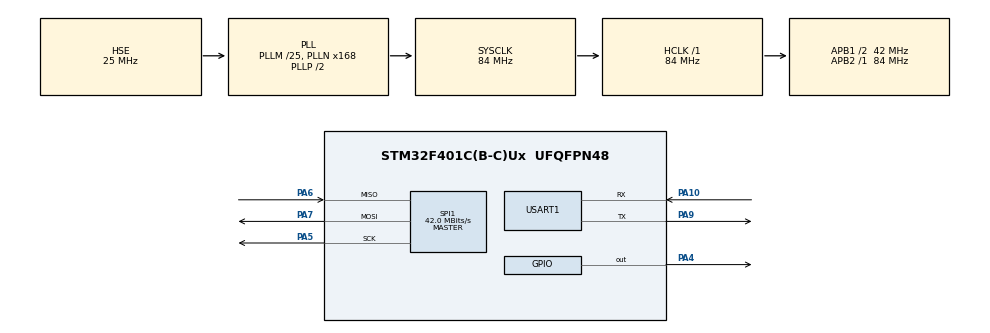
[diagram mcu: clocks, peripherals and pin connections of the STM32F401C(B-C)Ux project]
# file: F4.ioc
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Mcu.Family=STM32F4
Mcu.Name=STM32F401C(B-C)Ux
Mcu.Package=UFQFPN48
NVIC.PriorityGroup=NVIC_PRIORITYGROUP_4
NVIC.TIM1_BRK_TIM9_IRQn=true\:0\:0\:false\:false\:true\:true\:true\:true
PA10.Mode=Asynchronous
PA10.Signal=USART1_RX
PA13.Mode=Serial_Wire
PA13.Signal=SYS_JTMS-SWDIO
PA14.Mode=Serial_Wire
PA14.Signal=SYS_JTCK-SWCLK
PA4.GPIO_ModeDefaultOutputPP=GPIO_MODE_OUTPUT_PP
PA4.GPIO_PuPd=GPIO_NOPULL
PA4.GPIO_Speed=GPIO_SPEED_FREQ_VERY_HIGH
PA4.PinState=GPIO_PIN_SET
PA4.Signal=GPIO_Output
PA5.Mode=Full_Duplex_Master
PA5.Signal=SPI1_SCK
PA6.Mode=Full_Duplex_Master
PA6.Signal=SPI1_MISO
PA7.Mode=Full_Duplex_Master
PA7.Signal=SPI1_MOSI
PA9.Mode=Asynchronous
PA9.Signal=USART1_TX
PH0\ -\ OSC_IN.Mode=HSE-External-Oscillator
PH0\ -\ OSC_IN.Signal=RCC_OSC_IN
PH1\ -\ OSC_OUT.Mode=HSE-External-Oscillator
PH1\ -\ OSC_OUT.Signal=RCC_OSC_OUT
ProjectManager.HeapSize=0x200
ProjectManager.StackSize=0x400
ProjectManager.TargetToolchain=MDK-ARM V5.32
RCC.48MHZClocksFreq_Value=42000000
RCC.AHBFreq_Value=84000000
RCC.APB1CLKDivider=RCC_HCLK_DIV2
RCC.APB1Freq_Value=42000000
RCC.APB1TimFreq_Value=84000000
RCC.APB2Freq_Value=84000000
RCC.APB2TimFreq_Value=84000000
RCC.CortexFreq_Value=84000000
RCC.HCLKFreq_Value=84000000
RCC.HSE_VALUE=25000000
RCC.HSI_VALUE=16000000
RCC.LSE_VALUE=32768
RCC.PLLM=25
RCC.PLLN=168
RCC.PLLSourceVirtual=RCC_PLLSOURCE_HSE
RCC.SYSCLKFreq_VALUE=84000000
RCC.SYSCLKSource=RCC_SYSCLKSOURCE_PLLCLK
RCC.VCOOutputFreq_Value=168000000
SPI1.BaudRatePrescaler=SPI_BAUDRATEPRESCALER_2
SPI1.CRCCalculation=SPI_CRCCALCULATION_DISABLE
SPI1.CalculateBaudRate=42.0 MBits/s
SPI1.Direction=SPI_DIRECTION_2LINES
SPI1.Mode=SPI_MODE_MASTER
SPI1.VirtualType=VM_MASTER
TIM9.AutoReloadPreload=TIM_AUTORELOAD_PRELOAD_ENABLE
TIM9.Prescaler=84-1
USART1.VirtualMode=VM_ASYNC
VP_TIM9_VS_ClockSourceINT.Mode=Internal
board=custom

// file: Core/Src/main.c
/* USER CODE BEGIN Header */
/**
 ******************************************************************************
 * @file           : main.c
 * @brief          : Main program body
 ******************************************************************************
 * @attention
 *
 * Copyright (c) 2022 STMicroelectronics.
 * All rights reserved.
 *
 * This software is licensed under terms that can be found in the LICENSE file
 * in the root directory of this software component.
 * If no LICENSE file comes with this software, it is provided AS-IS.
 *
 ******************************************************************************
 */
/* USER CODE END Header */
#include "main.h"
#include "spi.h"
#include "tim.h"
#include "usart.h"
#include "gpio.h"

/* USER CODE BEGIN Includes */
#include "Delay.h"
#include "Print.h"
#include "W25Qxx.h"
/* USER CODE END Includes */

void SystemClock_Config(void);

/* USER CODE BEGIN 0 */
uint8_t s[5125] = {1, 2, 3, 4, 5, 6, 7, 8, 9};
/* USER CODE END 0 */

int main(void)
{
  /* USER CODE BEGIN 1 */

  uint8_t r[10] = {0};
  /* USER CODE END 1 */

  /* MCU Configuration--------------------------------------------------------*/

  /* Reset of all peripherals, Initializes the Flash interface and the Systick. */
  HAL_Init();

  /* Configure the system clock */
  SystemClock_Config();

  /* Initialize all configured peripherals */
  MX_GPIO_Init();
  MX_USART1_UART_Init();
  MX_TIM9_Init();
  MX_SPI1_Init();
  /* USER CODE BEGIN 2 */
  W25Qxx_Sector_Erase(0x000000);
  W25Qxx_Wait_Free();
  W25Qxx_Sector_Erase(0x001000);
  W25Qxx_Wait_Free();
  W25Qxx_Sector_Erase(0x002000);
  W25Qxx_Wait_Free();

  for (int i = 0; i < 5125; i++)
    s[i] = i % 256;
  W25Qxx_Write(0x000e30, s, 5125);
  W25Qxx_Print_Sector(0x000000);
  printf("\r\n\r\n\r\n");
  W25Qxx_Print_Sector(0x001000);
  printf("\r\n\r\n\r\n");
  W25Qxx_Print_Sector(0x002000);
  /* USER CODE END 2 */

  /* Infinite loop */
  while (1)
  {

    /* USER CODE BEGIN 3 */
    // W25Qxx_Sector_Erase(0);
    // W25Qxx_Wait_Free();
    // W25Qxx_Write_Page(0, s, 10);
    // W25Qxx_Wait_Free();
    // W25Qxx_Read_Data(0, r, 10);
    // for (int i = 0; i < 10; i++)
    // {
    // 	printf("%d=%X\r\n", i, r[i]);
    // }
  }
  /* USER CODE END 3 */
}

void SystemClock_Config(void)
{
  RCC_OscInitTypeDef RCC_OscInitStruct = {0};
  RCC_ClkInitTypeDef RCC_ClkInitStruct = {0};

  /** Configure the main internal regulator output voltage
   */
  __HAL_RCC_PWR_CLK_ENABLE();
  __HAL_PWR_VOLTAGESCALING_CONFIG(PWR_REGULATOR_VOLTAGE_SCALE2);

  /** Initializes the RCC Oscillators according to the specified parameters
   * in the RCC_OscInitTypeDef structure.
   */
  RCC_OscInitStruct.OscillatorType = RCC_OSCILLATORTYPE_HSE;
  RCC_OscInitStruct.HSEState = RCC_HSE_ON;
  RCC_OscInitStruct.PLL.PLLState = RCC_PLL_ON;
  RCC_OscInitStruct.PLL.PLLSource = RCC_PLLSOURCE_HSE;
  RCC_OscInitStruct.PLL.PLLM = 25;
  RCC_OscInitStruct.PLL.PLLN = 168;
  RCC_OscInitStruct.PLL.PLLP = RCC_PLLP_DIV2;
  RCC_OscInitStruct.PLL.PLLQ = 4;
  if (HAL_RCC_OscConfig(&RCC_OscInitStruct) != HAL_OK)
  {
    Error_Handler();
  }

  /** Initializes the CPU, AHB and APB buses clocks
   */
  RCC_ClkInitStruct.ClockType = RCC_CLOCKTYPE_HCLK | RCC_CLOCKTYPE_SYSCLK | RCC_CLOCKTYPE_PCLK1 | RCC_CLOCKTYPE_PCLK2;
  RCC_ClkInitStruct.SYSCLKSource = RCC_SYSCLKSOURCE_PLLCLK;
  RCC_ClkInitStruct.AHBCLKDivider = RCC_SYSCLK_DIV1;
  RCC_ClkInitStruct.APB1CLKDivider = RCC_HCLK_DIV2;
  RCC_ClkInitStruct.APB2CLKDivider = RCC_HCLK_DIV1;

  if (HAL_RCC_ClockConfig(&RCC_ClkInitStruct, FLASH_LATENCY_2) != HAL_OK)
  {
    Error_Handler();
  }
}

void Error_Handler(void)
{
  __disable_irq();
  while (1)
  {
  }
}
